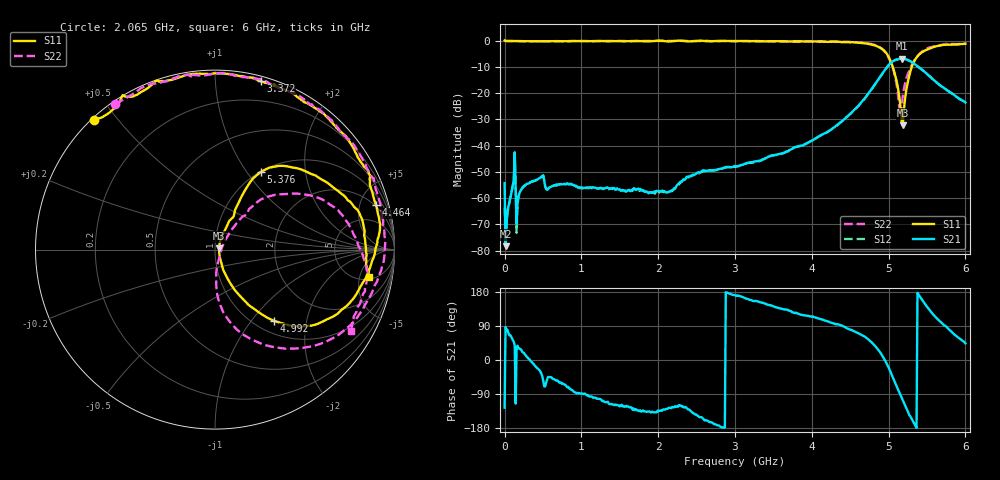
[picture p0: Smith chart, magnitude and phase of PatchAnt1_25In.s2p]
# Hz S RI R 50
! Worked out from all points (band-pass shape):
!   501 points, 1 MHz to 6 GHz, reference 50 ohm
!   highest |S21| = -6.88 dB at 5.172 GHz (marker M1); lowest = -78.3 dB at 13 MHz (marker M2)
!   |S21| within 3 dB of the highest: 4.987 GHz to 5.382 GHz (395.1 MHz wide, 7.62 % of centre)
!   lowest |S11| = -32.3 dB at 5.184 GHz (marker M3), VSWR 1.05, Z = 52.3 + j0.859 ohm
!   |S11| at or under -10 dB: 5.054 GHz to 5.301 GHz (247.7 MHz wide, 4.78 % of centre)
!   |S22| runs from -28.7 to -0.1 dB; largest |S21 - S12| = 0.023
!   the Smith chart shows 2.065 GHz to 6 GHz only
!   S11 on the Smith chart (normalised r, x): 2.065 GHz: 0.01, +0.44; 3.372 GHz: 0.04, +1.31; 4.464 GHz: 1.87, +6.91; 4.992 GHz: 1.21, -1.31; 5.376 GHz: 1.01, +1.17; 6 GHz: 5.61, -7.07
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1000000  1.007 -0.00493  -0.00112 -0.00157  -0.000663 -4.1e-05  0.994 -0.0135
1.2998e7  0.9837 -0.0726  7.1e-06 0.000122  7.77e-05 0.000164  0.9852 -0.0683
3.6994e7  0.9644 -0.1898  9.89e-05 0.000553  9.84e-05 0.000472  0.9653 -0.192
1.08982e8  0.8313 -0.5228  0.00111 0.00142  0.00112 0.00136  0.8269 -0.5277
1.8097e8  0.6023 -0.7702  0.000946 0.000565  0.000864 0.000557  0.5984 -0.7689
3.48942e8  0.00833 -0.9707  0.00205 -0.000148  0.00202 -0.000183  -0.0176 -0.9744
6.48892e8  -0.6919 -0.6913  0.0011 -0.00137  0.00112 -0.00133  -0.7238 -0.6608
1.008832e9  -0.9603 -0.1937  5.04e-05 -0.0016  -4.84e-06 -0.00153  -0.972 -0.1272
2.004666e9  -0.7063 0.7051  -0.000973 -0.000963  -0.000903 -0.000948  -0.5972 0.7881
2.064656e9  -0.672 0.7219  -0.000882 -0.00103  -0.000821 -0.00102  -0.5552 0.8135
3.0005e9  -0.00601 0.9823  -0.00403 0.000646  -0.00393 0.000616  0.1646 0.9615
3.372438e9  0.2539 0.9374  -0.0048 0.00273  -0.00472 0.00275  0.4492 0.867
4.008332e9  0.7121 0.646  -0.00517 0.0115  -0.005 0.0114  0.8259 0.4942
4.464256e9  0.8977 0.2469  0.0044 0.0357  0.00297 0.0361  0.9483 0.0386
4.776204e9  0.8206 -0.1888  0.0799 0.0858  0.0772 0.0875  0.7531 -0.4227
4.992168e9  0.3305 -0.3976  0.3152 -0.0926  0.3186 -0.0795  0.154 -0.4719
5.004166e9  0.2927 -0.3803  0.3223 -0.127  0.3258 -0.1141  0.1203 -0.4439
5.172138e9  0.0232 -0.0149  -0.0855 -0.4449  -0.0662 -0.4465  0.0476 0.0328
5.184136e9  0.0228 0.00821  -0.129 -0.4342  -0.1114 -0.4345  0.0616 0.0605
5.376104e9  0.2549 0.4328  -0.3252 0.0152  -0.3242 -0.00515  0.3988 0.3095
5.628062e9  0.7295 0.2898  -0.0537 0.1486  -0.0646 0.1442  0.7942 0.0369
6e9  0.859 -0.1509  0.0477 0.0459  0.0446 0.0497  0.7602 -0.4541
